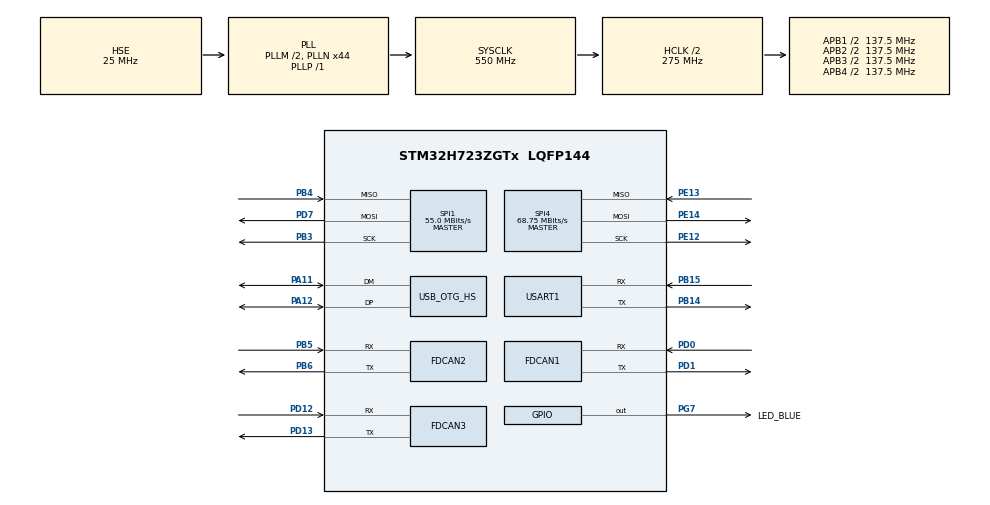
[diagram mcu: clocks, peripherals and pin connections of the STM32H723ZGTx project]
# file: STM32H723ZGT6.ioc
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CORTEX_M7.default_mode_Activation=1
Dma.Request0=USART1_TX
Dma.USART1_TX.0.Direction=DMA_MEMORY_TO_PERIPH
Dma.USART1_TX.0.EventEnable=DISABLE
Dma.USART1_TX.0.FIFOMode=DMA_FIFOMODE_DISABLE
Dma.USART1_TX.0.Instance=DMA1_Stream0
Dma.USART1_TX.0.MemDataAlignment=DMA_MDATAALIGN_BYTE
Dma.USART1_TX.0.MemInc=DMA_MINC_ENABLE
Dma.USART1_TX.0.Mode=DMA_NORMAL
Dma.USART1_TX.0.PeriphDataAlignment=DMA_PDATAALIGN_BYTE
Dma.USART1_TX.0.PeriphInc=DMA_PINC_DISABLE
Dma.USART1_TX.0.Polarity=HAL_DMAMUX_REQ_GEN_RISING
Dma.USART1_TX.0.Priority=DMA_PRIORITY_LOW
Dma.USART1_TX.0.RequestNumber=1
Dma.USART1_TX.0.SignalID=NONE
Dma.USART1_TX.0.SyncEnable=DISABLE
Dma.USART1_TX.0.SyncPolarity=HAL_DMAMUX_SYNC_NO_EVENT
Dma.USART1_TX.0.SyncRequestNumber=1
Dma.USART1_TX.0.SyncSignalID=NONE
FDCAN1.AutoRetransmission=DISABLE
FDCAN1.CalculateBaudRateNominal=250000
FDCAN1.CalculateTimeBitNominal=4000
FDCAN1.CalculateTimeQuantumNominal=333.3333333333333
FDCAN1.FrameFormat=FDCAN_FRAME_CLASSIC
FDCAN1.NominalPrescaler=32
FDCAN1.NominalTimeSeg1=8
FDCAN1.NominalTimeSeg2=3
FDCAN1.TransmitPause=DISABLE
FDCAN2.CalculateBaudRateNominal=250000
FDCAN2.CalculateTimeBitNominal=4000
FDCAN2.CalculateTimeQuantumNominal=333.3333333333333
FDCAN2.NominalPrescaler=32
FDCAN2.NominalTimeSeg1=8
FDCAN2.NominalTimeSeg2=3
FDCAN3.CalculateBaudRateNominal=250000
FDCAN3.CalculateTimeBitNominal=4000
FDCAN3.CalculateTimeQuantumNominal=333.3333333333333
FDCAN3.NominalPrescaler=32
FDCAN3.NominalTimeSeg1=8
FDCAN3.NominalTimeSeg2=3
FREERTOS.Tasks01=defaultTask,0,128,StartDefaultTask,Default,NULL,Dynamic,NULL,NULL;HeartBeat,-2,128,taskHeartBeat,Default,NULL,Dynamic,NULL,NULL;FDCAN1,-3,128,taskFDCAN1,Default,NULL,Dynamic,NULL,NULL;FDCAN2,-3,128,taskFDCAN2,Default,NULL,Dynamic,NULL,NULL;FDCAN3,-3,128,taskFDCAN3,Default,NULL,Dynamic,NULL,NULL;UART1,-3,128,taskUART1,Default,NULL,Dynamic,NULL,NULL
Mcu.Family=STM32H7
Mcu.Name=STM32H723ZGTx
Mcu.Package=LQFP144
NVIC.DMA1_Stream0_IRQn=true\:5\:0\:false\:false\:true\:true\:false\:true\:true
NVIC.FDCAN1_IT0_IRQn=true\:5\:0\:false\:false\:true\:true\:true\:true\:true
NVIC.FDCAN2_IT0_IRQn=true\:5\:0\:false\:false\:true\:true\:true\:true\:true
NVIC.FDCAN3_IT0_IRQn=true\:5\:0\:false\:false\:true\:true\:true\:true\:true
NVIC.OTG_HS_IRQn=true\:5\:0\:false\:false\:true\:true\:false\:true\:true
NVIC.PriorityGroup=NVIC_PRIORITYGROUP_4
NVIC.TIM23_IRQn=true\:15\:0\:false\:false\:true\:false\:false\:true\:true
NVIC.TimeBase=TIM23_IRQn
NVIC.TimeBaseIP=TIM23
NVIC.USART1_IRQn=true\:5\:0\:false\:false\:true\:true\:true\:true\:true
PA11.Mode=Device_Only_FS
PA11.Signal=USB_OTG_HS_DM
PA12.Mode=Device_Only_FS
PA12.Signal=USB_OTG_HS_DP
PB14.GPIO_PuPd=GPIO_PULLUP
PB14.Mode=Asynchronous
PB14.Signal=USART1_TX
PB15.GPIO_PuPd=GPIO_PULLUP
PB15.Mode=Asynchronous
PB15.Signal=USART1_RX
PB3(JTDO/TRACESWO).GPIO_PuPd=GPIO_PULLDOWN
PB3(JTDO/TRACESWO).Mode=Full_Duplex_Master
PB3(JTDO/TRACESWO).Signal=SPI1_SCK
PB4(NJTRST).GPIO_PuPd=GPIO_PULLDOWN
PB4(NJTRST).Mode=Full_Duplex_Master
PB4(NJTRST).Signal=SPI1_MISO
PB5.Mode=FDCAN_Activate
PB5.Signal=FDCAN2_RX
PB6.Mode=FDCAN_Activate
PB6.Signal=FDCAN2_TX
PC14-OSC32_IN.Mode=LSE-External-Oscillator
PC14-OSC32_IN.Signal=RCC_OSC32_IN
PC15-OSC32_OUT.Mode=LSE-External-Oscillator
PC15-OSC32_OUT.Signal=RCC_OSC32_OUT
PD0.Mode=FDCAN_Activate
PD0.Signal=FDCAN1_RX
PD1.Mode=FDCAN_Activate
PD1.Signal=FDCAN1_TX
PD12.Mode=FDCAN_Activate
PD12.Signal=FDCAN3_RX
PD13.Mode=FDCAN_Activate
PD13.Signal=FDCAN3_TX
PD7.GPIO_PuPd=GPIO_PULLDOWN
PD7.Mode=Full_Duplex_Master
PD7.Signal=SPI1_MOSI
PE12.GPIO_PuPd=GPIO_PULLDOWN
PE12.Mode=Full_Duplex_Master
PE12.Signal=SPI4_SCK
PE13.GPIO_PuPd=GPIO_PULLDOWN
PE13.Mode=Full_Duplex_Master
PE13.Signal=SPI4_MISO
PE14.GPIO_PuPd=GPIO_PULLDOWN
PE14.Mode=Full_Duplex_Master
PE14.Signal=SPI4_MOSI
PG7.GPIO_Label=LED_BLUE
PG7.GPIO_PuPd=GPIO_PULLUP
PG7.PinState=GPIO_PIN_SET
PG7.Signal=GPIO_Output
PH0-OSC_IN.Mode=HSE-External-Oscillator
PH0-OSC_IN.Signal=RCC_OSC_IN
PH1-OSC_OUT.Mode=HSE-External-Oscillator
PH1-OSC_OUT.Signal=RCC_OSC_OUT
ProjectManager.HeapSize=0x200
ProjectManager.StackSize=0x400
ProjectManager.TargetToolchain=MDK-ARM V5.32
RCC.ADCFreq_Value=96000000
RCC.APB1Freq_Value=137500000
RCC.APB2Freq_Value=137500000
RCC.APB3Freq_Value=137500000
RCC.APB4Freq_Value=137500000
RCC.CortexFreq_Value=550000000
RCC.D1PPRE=RCC_APB3_DIV2
RCC.D2PPRE1=RCC_APB1_DIV2
RCC.D2PPRE2=RCC_APB2_DIV2
RCC.D3PPRE=RCC_APB4_DIV2
RCC.DIVM1=2
RCC.DIVM2=25
RCC.DIVM3=25
RCC.DIVN1=44
RCC.DIVN2=192
RCC.DIVN3=192
RCC.DIVP1=1
RCC.DIVQ1=5
RCC.FDCANCLockSelection=RCC_FDCANCLKSOURCE_PLL2
RCC.HCLKFreq_Value=275000000
RCC.HPRE=RCC_HCLK_DIV2
RCC.PLL2FRACN=0
RCC.PLL3FRACN=0
RCC.PLLFRACN=0
RCC.PLLSourceVirtual=RCC_PLLSOURCE_HSE
RCC.SYSCLKFreq_VALUE=550000000
RCC.SYSCLKSource=RCC_SYSCLKSOURCE_PLLCLK
RCC.USBCLockSelection=RCC_USBCLKSOURCE_PLL3
RCC.USBFreq_Value=96000000
SPI1.CalculateBaudRate=55.0 MBits/s
SPI1.Direction=SPI_DIRECTION_2LINES
SPI1.Mode=SPI_MODE_MASTER
SPI1.VirtualType=VM_MASTER
SPI4.CalculateBaudRate=68.75 MBits/s
SPI4.Direction=SPI_DIRECTION_2LINES
SPI4.Mode=SPI_MODE_MASTER
SPI4.VirtualType=VM_MASTER
USART1.VirtualMode-Asynchronous=VM_ASYNC
USB_DEVICE.CLASS_NAME_HS=HID
USB_DEVICE.VirtualMode=Hid
USB_DEVICE.VirtualModeHS=Hid_HS
USB_OTG_HS.VirtualMode-Device_Only_FS=Device_Only_FS
VP_FREERTOS_VS_CMSIS_V1.Mode=CMSIS_V1
VP_MEMORYMAP_VS_MEMORYMAP.Mode=CurAppReg
VP_SYS_VS_tim23.Mode=TIM23
VP_USB_DEVICE_VS_USB_DEVICE_HID_HS.Mode=HID_HS
board=custom

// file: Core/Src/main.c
/* USER CODE BEGIN Header */
/**
  ******************************************************************************
  * @file           : main.c
  * @brief          : Main program body
  ******************************************************************************
  * @attention
  *
  * Copyright (c) 2025 STMicroelectronics.
  * All rights reserved.
  *
  * This software is licensed under terms that can be found in the LICENSE file
  * in the root directory of this software component.
  * If no LICENSE file comes with this software, it is provided AS-IS.
  *
  ******************************************************************************
  */
/* USER CODE END Header */
#include "main.h"
#include "cmsis_os.h"
#include "usb_device.h"

FDCAN_HandleTypeDef hfdcan1;
FDCAN_HandleTypeDef hfdcan2;
FDCAN_HandleTypeDef hfdcan3;

SPI_HandleTypeDef hspi1;
SPI_HandleTypeDef hspi4;

UART_HandleTypeDef huart1;
DMA_HandleTypeDef hdma_usart1_tx;

osThreadId defaultTaskHandle;
osThreadId HeartBeatHandle;
osThreadId FDCAN1Handle;
osThreadId FDCAN2Handle;
osThreadId FDCAN3Handle;
osThreadId UART1Handle;

void SystemClock_Config(void);
void PeriphCommonClock_Config(void);
static void MPU_Config(void);
static void MX_GPIO_Init(void);
static void MX_DMA_Init(void);
static void MX_FDCAN1_Init(void);
static void MX_FDCAN2_Init(void);
static void MX_FDCAN3_Init(void);
static void MX_SPI1_Init(void);
static void MX_SPI4_Init(void);
static void MX_USART1_UART_Init(void);
void StartDefaultTask(void const * argument);
void taskHeartBeat(void const * argument);
void taskFDCAN1(void const * argument);
void taskFDCAN2(void const * argument);
void taskFDCAN3(void const * argument);
void taskUART1(void const * argument);

int main(void)
{

  /* MPU Configuration--------------------------------------------------------*/
  MPU_Config();

  /* MCU Configuration--------------------------------------------------------*/

  /* Reset of all peripherals, Initializes the Flash interface and the Systick. */
  HAL_Init();

  /* Configure the system clock */
  SystemClock_Config();

  /* Configure the peripherals common clocks */
  PeriphCommonClock_Config();

  /* Initialize all configured peripherals */
  MX_GPIO_Init();
  MX_DMA_Init();
  MX_FDCAN1_Init();
  MX_FDCAN2_Init();
  MX_FDCAN3_Init();
  MX_SPI1_Init();
  MX_SPI4_Init();
  MX_USART1_UART_Init();

  /* Create the thread(s) */
  /* definition and creation of defaultTask */
  osThreadDef(defaultTask, StartDefaultTask, osPriorityNormal, 0, 128);
  defaultTaskHandle = osThreadCreate(osThread(defaultTask), NULL);

  /* definition and creation of HeartBeat */
  osThreadDef(HeartBeat, taskHeartBeat, osPriorityLow, 0, 128);
  HeartBeatHandle = osThreadCreate(osThread(HeartBeat), NULL);

  /* definition and creation of FDCAN1 */
  osThreadDef(FDCAN1, taskFDCAN1, osPriorityIdle, 0, 128);
  FDCAN1Handle = osThreadCreate(osThread(FDCAN1), NULL);

  /* definition and creation of FDCAN2 */
  osThreadDef(FDCAN2, taskFDCAN2, osPriorityIdle, 0, 128);
  FDCAN2Handle = osThreadCreate(osThread(FDCAN2), NULL);

  /* definition and creation of FDCAN3 */
  osThreadDef(FDCAN3, taskFDCAN3, osPriorityIdle, 0, 128);
  FDCAN3Handle = osThreadCreate(osThread(FDCAN3), NULL);

  /* definition and creation of UART1 */
  osThreadDef(UART1, taskUART1, osPriorityIdle, 0, 128);
  UART1Handle = osThreadCreate(osThread(UART1), NULL);

  /* Start scheduler */
  osKernelStart();

  /* We should never get here as control is now taken by the scheduler */

  /* Infinite loop */
  while (1)
  {

  }
}

void SystemClock_Config(void)
{
  RCC_OscInitTypeDef RCC_OscInitStruct = {0};
  RCC_ClkInitTypeDef RCC_ClkInitStruct = {0};

  /** Supply configuration update enable
  */
  HAL_PWREx_ConfigSupply(PWR_LDO_SUPPLY);

  /** Configure the main internal regulator output voltage
  */
  __HAL_PWR_VOLTAGESCALING_CONFIG(PWR_REGULATOR_VOLTAGE_SCALE0);

  while(!__HAL_PWR_GET_FLAG(PWR_FLAG_VOSRDY)) {}

  /** Initializes the RCC Oscillators according to the specified parameters
  * in the RCC_OscInitTypeDef structure.
  */
  RCC_OscInitStruct.OscillatorType = RCC_OSCILLATORTYPE_HSE;
  RCC_OscInitStruct.HSEState = RCC_HSE_ON;
  RCC_OscInitStruct.PLL.PLLState = RCC_PLL_ON;
  RCC_OscInitStruct.PLL.PLLSource = RCC_PLLSOURCE_HSE;
  RCC_OscInitStruct.PLL.PLLM = 2;
  RCC_OscInitStruct.PLL.PLLN = 44;
  RCC_OscInitStruct.PLL.PLLP = 1;
  RCC_OscInitStruct.PLL.PLLQ = 5;
  RCC_OscInitStruct.PLL.PLLR = 2;
  RCC_OscInitStruct.PLL.PLLRGE = RCC_PLL1VCIRANGE_3;
  RCC_OscInitStruct.PLL.PLLVCOSEL = RCC_PLL1VCOWIDE;
  RCC_OscInitStruct.PLL.PLLFRACN = 0;
  if (HAL_RCC_OscConfig(&RCC_OscInitStruct) != HAL_OK)
  {
    Error_Handler();
  }

  /** Initializes the CPU, AHB and APB buses clocks
  */
  RCC_ClkInitStruct.ClockType = RCC_CLOCKTYPE_HCLK|RCC_CLOCKTYPE_SYSCLK
                              |RCC_CLOCKTYPE_PCLK1|RCC_CLOCKTYPE_PCLK2
                              |RCC_CLOCKTYPE_D3PCLK1|RCC_CLOCKTYPE_D1PCLK1;
  RCC_ClkInitStruct.SYSCLKSource = RCC_SYSCLKSOURCE_PLLCLK;
  RCC_ClkInitStruct.SYSCLKDivider = RCC_SYSCLK_DIV1;
  RCC_ClkInitStruct.AHBCLKDivider = RCC_HCLK_DIV2;
  RCC_ClkInitStruct.APB3CLKDivider = RCC_APB3_DIV2;
  RCC_ClkInitStruct.APB1CLKDivider = RCC_APB1_DIV2;
  RCC_ClkInitStruct.APB2CLKDivider = RCC_APB2_DIV2;
  RCC_ClkInitStruct.APB4CLKDivider = RCC_APB4_DIV2;

  if (HAL_RCC_ClockConfig(&RCC_ClkInitStruct, FLASH_LATENCY_3) != HAL_OK)
  {
    Error_Handler();
  }
}

void PeriphCommonClock_Config(void)
{
  RCC_PeriphCLKInitTypeDef PeriphClkInitStruct = {0};

  /** Initializes the peripherals clock
  */
  PeriphClkInitStruct.PeriphClockSelection = RCC_PERIPHCLK_FDCAN;
  PeriphClkInitStruct.PLL2.PLL2M = 25;
  PeriphClkInitStruct.PLL2.PLL2N = 192;
  PeriphClkInitStruct.PLL2.PLL2P = 2;
  PeriphClkInitStruct.PLL2.PLL2Q = 2;
  PeriphClkInitStruct.PLL2.PLL2R = 2;
  PeriphClkInitStruct.PLL2.PLL2RGE = RCC_PLL2VCIRANGE_0;
  PeriphClkInitStruct.PLL2.PLL2VCOSEL = RCC_PLL2VCOMEDIUM;
  PeriphClkInitStruct.PLL2.PLL2FRACN = 0;
  PeriphClkInitStruct.FdcanClockSelection = RCC_FDCANCLKSOURCE_PLL2;
  if (HAL_RCCEx_PeriphCLKConfig(&PeriphClkInitStruct) != HAL_OK)
  {
    Error_Handler();
  }
}

static void MX_FDCAN1_Init(void)
{

  hfdcan1.Instance = FDCAN1;
  hfdcan1.Init.FrameFormat = FDCAN_FRAME_CLASSIC;
  hfdcan1.Init.Mode = FDCAN_MODE_NORMAL;
  hfdcan1.Init.AutoRetransmission = DISABLE;
  hfdcan1.Init.TransmitPause = DISABLE;
  hfdcan1.Init.ProtocolException = DISABLE;
  hfdcan1.Init.NominalPrescaler = 32;
  hfdcan1.Init.NominalSyncJumpWidth = 1;
  hfdcan1.Init.NominalTimeSeg1 = 8;
  hfdcan1.Init.NominalTimeSeg2 = 3;
  hfdcan1.Init.DataPrescaler = 1;
  hfdcan1.Init.DataSyncJumpWidth = 1;
  hfdcan1.Init.DataTimeSeg1 = 1;
  hfdcan1.Init.DataTimeSeg2 = 1;
  hfdcan1.Init.MessageRAMOffset = 0;
  hfdcan1.Init.StdFiltersNbr = 0;
  hfdcan1.Init.ExtFiltersNbr = 0;
  hfdcan1.Init.RxFifo0ElmtsNbr = 0;
  hfdcan1.Init.RxFifo0ElmtSize = FDCAN_DATA_BYTES_8;
  hfdcan1.Init.RxFifo1ElmtsNbr = 0;
  hfdcan1.Init.RxFifo1ElmtSize = FDCAN_DATA_BYTES_8;
  hfdcan1.Init.RxBuffersNbr = 0;
  hfdcan1.Init.RxBufferSize = FDCAN_DATA_BYTES_8;
  hfdcan1.Init.TxEventsNbr = 0;
  hfdcan1.Init.TxBuffersNbr = 0;
  hfdcan1.Init.TxFifoQueueElmtsNbr = 0;
  hfdcan1.Init.TxFifoQueueMode = FDCAN_TX_FIFO_OPERATION;
  hfdcan1.Init.TxElmtSize = FDCAN_DATA_BYTES_8;
  if (HAL_FDCAN_Init(&hfdcan1) != HAL_OK)
  {
    Error_Handler();
  }

}

static void MX_FDCAN2_Init(void)
{

  hfdcan2.Instance = FDCAN2;
  hfdcan2.Init.FrameFormat = FDCAN_FRAME_CLASSIC;
  hfdcan2.Init.Mode = FDCAN_MODE_NORMAL;
  hfdcan2.Init.AutoRetransmission = DISABLE;
  hfdcan2.Init.TransmitPause = DISABLE;
  hfdcan2.Init.ProtocolException = DISABLE;
  hfdcan2.Init.NominalPrescaler = 32;
  hfdcan2.Init.NominalSyncJumpWidth = 1;
  hfdcan2.Init.NominalTimeSeg1 = 8;
  hfdcan2.Init.NominalTimeSeg2 = 3;
  hfdcan2.Init.DataPrescaler = 1;
  hfdcan2.Init.DataSyncJumpWidth = 1;
  hfdcan2.Init.DataTimeSeg1 = 1;
  hfdcan2.Init.DataTimeSeg2 = 1;
  hfdcan2.Init.MessageRAMOffset = 0;
  hfdcan2.Init.StdFiltersNbr = 0;
  hfdcan2.Init.ExtFiltersNbr = 0;
  hfdcan2.Init.RxFifo0ElmtsNbr = 0;
  hfdcan2.Init.RxFifo0ElmtSize = FDCAN_DATA_BYTES_8;
  hfdcan2.Init.RxFifo1ElmtsNbr = 0;
  hfdcan2.Init.RxFifo1ElmtSize = FDCAN_DATA_BYTES_8;
  hfdcan2.Init.RxBuffersNbr = 0;
  hfdcan2.Init.RxBufferSize = FDCAN_DATA_BYTES_8;
  hfdcan2.Init.TxEventsNbr = 0;
  hfdcan2.Init.TxBuffersNbr = 0;
  hfdcan2.Init.TxFifoQueueElmtsNbr = 0;
  hfdcan2.Init.TxFifoQueueMode = FDCAN_TX_FIFO_OPERATION;
  hfdcan2.Init.TxElmtSize = FDCAN_DATA_BYTES_8;
  if (HAL_FDCAN_Init(&hfdcan2) != HAL_OK)
  {
    Error_Handler();
  }

}

static void MX_FDCAN3_Init(void)
{

  hfdcan3.Instance = FDCAN3;
  hfdcan3.Init.FrameFormat = FDCAN_FRAME_CLASSIC;
  hfdcan3.Init.Mode = FDCAN_MODE_NORMAL;
  hfdcan3.Init.AutoRetransmission = DISABLE;
  hfdcan3.Init.TransmitPause = DISABLE;
  hfdcan3.Init.ProtocolException = DISABLE;
  hfdcan3.Init.NominalPrescaler = 32;
  hfdcan3.Init.NominalSyncJumpWidth = 1;
  hfdcan3.Init.NominalTimeSeg1 = 8;
  hfdcan3.Init.NominalTimeSeg2 = 3;
  hfdcan3.Init.DataPrescaler = 1;
  hfdcan3.Init.DataSyncJumpWidth = 1;
  hfdcan3.Init.DataTimeSeg1 = 1;
  hfdcan3.Init.DataTimeSeg2 = 1;
  hfdcan3.Init.MessageRAMOffset = 0;
  hfdcan3.Init.StdFiltersNbr = 0;
  hfdcan3.Init.ExtFiltersNbr = 0;
  hfdcan3.Init.RxFifo0ElmtsNbr = 0;
  hfdcan3.Init.RxFifo0ElmtSize = FDCAN_DATA_BYTES_8;
  hfdcan3.Init.RxFifo1ElmtsNbr = 0;
  hfdcan3.Init.RxFifo1ElmtSize = FDCAN_DATA_BYTES_8;
  hfdcan3.Init.RxBuffersNbr = 0;
  hfdcan3.Init.RxBufferSize = FDCAN_DATA_BYTES_8;
  hfdcan3.Init.TxEventsNbr = 0;
  hfdcan3.Init.TxBuffersNbr = 0;
  hfdcan3.Init.TxFifoQueueElmtsNbr = 0;
  hfdcan3.Init.TxFifoQueueMode = FDCAN_TX_FIFO_OPERATION;
  hfdcan3.Init.TxElmtSize = FDCAN_DATA_BYTES_8;
  if (HAL_FDCAN_Init(&hfdcan3) != HAL_OK)
  {
    Error_Handler();
  }

}

static void MX_SPI1_Init(void)
{

  /* SPI1 parameter configuration*/
  hspi1.Instance = SPI1;
  hspi1.Init.Mode = SPI_MODE_MASTER;
  hspi1.Init.Direction = SPI_DIRECTION_2LINES;
  hspi1.Init.DataSize = SPI_DATASIZE_4BIT;
  hspi1.Init.CLKPolarity = SPI_POLARITY_LOW;
  hspi1.Init.CLKPhase = SPI_PHASE_1EDGE;
  hspi1.Init.NSS = SPI_NSS_SOFT;
  hspi1.Init.BaudRatePrescaler = SPI_BAUDRATEPRESCALER_2;
  hspi1.Init.FirstBit = SPI_FIRSTBIT_MSB;
  hspi1.Init.TIMode = SPI_TIMODE_DISABLE;
  hspi1.Init.CRCCalculation = SPI_CRCCALCULATION_DISABLE;
  hspi1.Init.CRCPolynomial = 0x0;
  hspi1.Init.NSSPMode = SPI_NSS_PULSE_ENABLE;
  hspi1.Init.NSSPolarity = SPI_NSS_POLARITY_LOW;
  hspi1.Init.FifoThreshold = SPI_FIFO_THRESHOLD_01DATA;
  hspi1.Init.TxCRCInitializationPattern = SPI_CRC_INITIALIZATION_ALL_ZERO_PATTERN;
  hspi1.Init.RxCRCInitializationPattern = SPI_CRC_INITIALIZATION_ALL_ZERO_PATTERN;
  hspi1.Init.MasterSSIdleness = SPI_MASTER_SS_IDLENESS_00CYCLE;
  hspi1.Init.MasterInterDataIdleness = SPI_MASTER_INTERDATA_IDLENESS_00CYCLE;
  hspi1.Init.MasterReceiverAutoSusp = SPI_MASTER_RX_AUTOSUSP_DISABLE;
  hspi1.Init.MasterKeepIOState = SPI_MASTER_KEEP_IO_STATE_DISABLE;
  hspi1.Init.IOSwap = SPI_IO_SWAP_DISABLE;
  if (HAL_SPI_Init(&hspi1) != HAL_OK)
  {
    Error_Handler();
  }

}

static void MX_SPI4_Init(void)
{

  /* SPI4 parameter configuration*/
  hspi4.Instance = SPI4;
  hspi4.Init.Mode = SPI_MODE_MASTER;
  hspi4.Init.Direction = SPI_DIRECTION_2LINES;
  hspi4.Init.DataSize = SPI_DATASIZE_4BIT;
  hspi4.Init.CLKPolarity = SPI_POLARITY_LOW;
  hspi4.Init.CLKPhase = SPI_PHASE_1EDGE;
  hspi4.Init.NSS = SPI_NSS_SOFT;
  hspi4.Init.BaudRatePrescaler = SPI_BAUDRATEPRESCALER_2;
  hspi4.Init.FirstBit = SPI_FIRSTBIT_MSB;
  hspi4.Init.TIMode = SPI_TIMODE_DISABLE;
  hspi4.Init.CRCCalculation = SPI_CRCCALCULATION_DISABLE;
  hspi4.Init.CRCPolynomial = 0x0;
  hspi4.Init.NSSPMode = SPI_NSS_PULSE_ENABLE;
  hspi4.Init.NSSPolarity = SPI_NSS_POLARITY_LOW;
  hspi4.Init.FifoThreshold = SPI_FIFO_THRESHOLD_01DATA;
  hspi4.Init.TxCRCInitializationPattern = SPI_CRC_INITIALIZATION_ALL_ZERO_PATTERN;
  hspi4.Init.RxCRCInitializationPattern = SPI_CRC_INITIALIZATION_ALL_ZERO_PATTERN;
  hspi4.Init.MasterSSIdleness = SPI_MASTER_SS_IDLENESS_00CYCLE;
  hspi4.Init.MasterInterDataIdleness = SPI_MASTER_INTERDATA_IDLENESS_00CYCLE;
  hspi4.Init.MasterReceiverAutoSusp = SPI_MASTER_RX_AUTOSUSP_DISABLE;
  hspi4.Init.MasterKeepIOState = SPI_MASTER_KEEP_IO_STATE_DISABLE;
  hspi4.Init.IOSwap = SPI_IO_SWAP_DISABLE;
  if (HAL_SPI_Init(&hspi4) != HAL_OK)
  {
    Error_Handler();
  }

}

static void MX_USART1_UART_Init(void)
{

  huart1.Instance = USART1;
  huart1.Init.BaudRate = 115200;
  huart1.Init.WordLength = UART_WORDLENGTH_8B;
  huart1.Init.StopBits = UART_STOPBITS_1;
  huart1.Init.Parity = UART_PARITY_NONE;
  huart1.Init.Mode = UART_MODE_TX_RX;
  huart1.Init.HwFlowCtl = UART_HWCONTROL_NONE;
  huart1.Init.OverSampling = UART_OVERSAMPLING_16;
  huart1.Init.OneBitSampling = UART_ONE_BIT_SAMPLE_DISABLE;
  huart1.Init.ClockPrescaler = UART_PRESCALER_DIV1;
  huart1.AdvancedInit.AdvFeatureInit = UART_ADVFEATURE_NO_INIT;
  if (HAL_UART_Init(&huart1) != HAL_OK)
  {
    Error_Handler();
  }
  if (HAL_UARTEx_SetTxFifoThreshold(&huart1, UART_TXFIFO_THRESHOLD_1_8) != HAL_OK)
  {
    Error_Handler();
  }
  if (HAL_UARTEx_SetRxFifoThreshold(&huart1, UART_RXFIFO_THRESHOLD_1_8) != HAL_OK)
  {
    Error_Handler();
  }
  if (HAL_UARTEx_DisableFifoMode(&huart1) != HAL_OK)
  {
    Error_Handler();
  }

}

static void MX_DMA_Init(void)
{

  /* DMA controller clock enable */
  __HAL_RCC_DMA1_CLK_ENABLE();

  /* DMA interrupt init */
  /* DMA1_Stream0_IRQn interrupt configuration */
  HAL_NVIC_SetPriority(DMA1_Stream0_IRQn, 5, 0);
  HAL_NVIC_EnableIRQ(DMA1_Stream0_IRQn);

}

static void MX_GPIO_Init(void)
{
  GPIO_InitTypeDef GPIO_InitStruct = {0};

  /* GPIO Ports Clock Enable */
  __HAL_RCC_GPIOC_CLK_ENABLE();
  __HAL_RCC_GPIOH_CLK_ENABLE();
  __HAL_RCC_GPIOE_CLK_ENABLE();
  __HAL_RCC_GPIOB_CLK_ENABLE();
  __HAL_RCC_GPIOD_CLK_ENABLE();
  __HAL_RCC_GPIOG_CLK_ENABLE();
  __HAL_RCC_GPIOA_CLK_ENABLE();

  /*Configure GPIO pin Output Level */
  HAL_GPIO_WritePin(LED_BLUE_GPIO_Port, LED_BLUE_Pin, GPIO_PIN_SET);

  /*Configure GPIO pin : LED_BLUE_Pin */
  GPIO_InitStruct.Pin = LED_BLUE_Pin;
  GPIO_InitStruct.Mode = GPIO_MODE_OUTPUT_PP;
  GPIO_InitStruct.Pull = GPIO_PULLUP;
  GPIO_InitStruct.Speed = GPIO_SPEED_FREQ_LOW;
  HAL_GPIO_Init(LED_BLUE_GPIO_Port, &GPIO_InitStruct);

}

void StartDefaultTask(void const * argument)
{
  /* init code for USB_DEVICE */
  MX_USB_DEVICE_Init();
  for(;;)
  {
    osDelay(1);
  }
}

void taskHeartBeat(void const * argument)
{
  /* USER CODE BEGIN taskHeartBeat */
  /* Infinite loop */
  for(;;)
  {
		HAL_GPIO_TogglePin(GPIOG, LED_BLUE_Pin);
		osDelay(500);
  }
  /* USER CODE END taskHeartBeat */
}

void taskFDCAN1(void const * argument)
{
  /* USER CODE BEGIN taskFDCAN1 */
	HAL_StatusTypeDef status;
	FDCAN_TxHeaderTypeDef Header;

	Header.Identifier = 0x123;
	uint8_t Payload[8] = {0x01, 0x02, 0x03, 0x04, 0x05, 0x06, 0x07, 0x08};
  /* Infinite loop */
  for(;;)
  {
    status = HAL_FDCAN_AddMessageToTxBuffer(&hfdcan1, &Header, Payload, 8);
    osDelay(100);
  }
  /* USER CODE END taskFDCAN1 */
}

void taskFDCAN2(void const * argument)
{
  /* USER CODE BEGIN taskFDCAN2 */
	HAL_StatusTypeDef status;
	FDCAN_TxHeaderTypeDef Header;

	Header.Identifier = 0x234;
	uint8_t Payload[8] = {0x01, 0x02, 0x03, 0x04, 0x05, 0x06, 0x07, 0x08};
  /* Infinite loop */
  for(;;)
  {
    status = HAL_FDCAN_AddMessageToTxBuffer(&hfdcan1, &Header, Payload, 8);
		osDelay(100);
  }
  /* USER CODE END taskFDCAN2 */
}

void taskFDCAN3(void const * argument)
{
  /* USER CODE BEGIN taskFDCAN3 */
	HAL_StatusTypeDef status;
	FDCAN_TxHeaderTypeDef Header;

	Header.Identifier = 0x345;
	uint8_t Payload[8] = {0x01, 0x02, 0x03, 0x04, 0x05, 0x06, 0x07, 0x08};
	/* Infinite loop */
  for(;;)
  {
    status = HAL_FDCAN_AddMessageToTxBuffer(&hfdcan1, &Header, Payload, 8);
    osDelay(100);
  }
  /* USER CODE END taskFDCAN3 */
}

void taskUART1(void const * argument)
{
  /* USER CODE BEGIN taskUART1 */
  HAL_StatusTypeDef status;
	uint8_t TxBuffer[] = "Dies ist ein Test\r\n";
	/* Infinite loop */
  for(;;)
  {
    status = HAL_UART_Transmit_DMA(&huart1, TxBuffer, sizeof(TxBuffer)-1);
		osDelay(100);
  }
  /* USER CODE END taskUART1 */
}

 /* MPU Configuration */

void MPU_Config(void)
{
  MPU_Region_InitTypeDef MPU_InitStruct = {0};

  /* Disables the MPU */
  HAL_MPU_Disable();

  /** Initializes and configures the Region and the memory to be protected
  */
  MPU_InitStruct.Enable = MPU_REGION_ENABLE;
  MPU_InitStruct.Number = MPU_REGION_NUMBER0;
  MPU_InitStruct.BaseAddress = 0x0;
  MPU_InitStruct.Size = MPU_REGION_SIZE_4GB;
  MPU_InitStruct.SubRegionDisable = 0x87;
  MPU_InitStruct.TypeExtField = MPU_TEX_LEVEL0;
  MPU_InitStruct.AccessPermission = MPU_REGION_NO_ACCESS;
  MPU_InitStruct.DisableExec = MPU_INSTRUCTION_ACCESS_DISABLE;
  MPU_InitStruct.IsShareable = MPU_ACCESS_SHAREABLE;
  MPU_InitStruct.IsCacheable = MPU_ACCESS_NOT_CACHEABLE;
  MPU_InitStruct.IsBufferable = MPU_ACCESS_NOT_BUFFERABLE;

  HAL_MPU_ConfigRegion(&MPU_InitStruct);
  /* Enables the MPU */
  HAL_MPU_Enable(MPU_PRIVILEGED_DEFAULT);

}

void HAL_TIM_PeriodElapsedCallback(TIM_HandleTypeDef *htim)
{
  if (htim->Instance == TIM23)
  {
    HAL_IncTick();
  }
}

void Error_Handler(void)
{
  __disable_irq();
  while (1)
  {
  }
}
